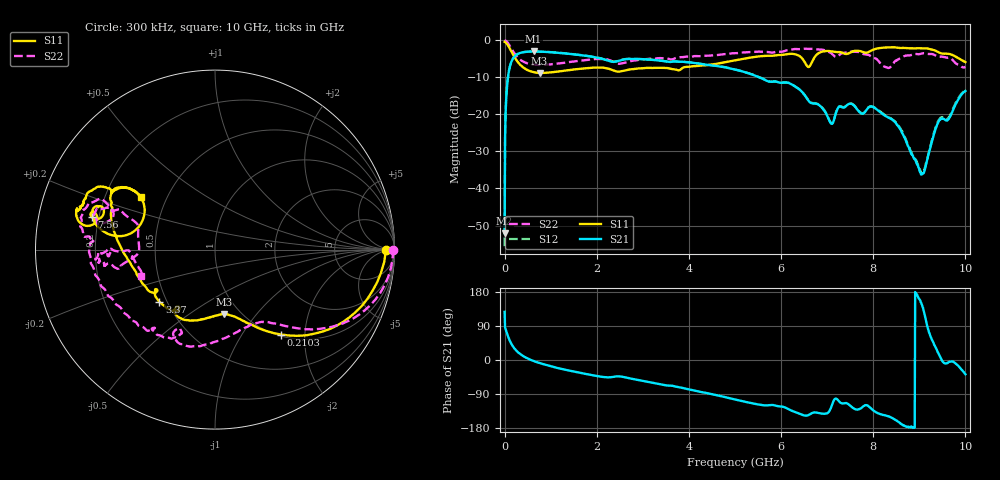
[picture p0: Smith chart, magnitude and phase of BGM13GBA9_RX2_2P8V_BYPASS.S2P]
!Agilent Technologies,E5071C,MY46316587,B.13.01
!Date: Wed Dec 06 10:53:28 2017
!Data & Calibration Information:
!Freq	S11:SOLT2(ON)	S21:SOLT2(ON)	S12:SOLT2(ON)	S22:SOLT2(ON)
!PortZ  Port1:50+j0  Port2:50+j0
!Above PortZ is port z conversion or system Z0 setting when saving the data.
!When reading, reference impedance value at option line is always used.
# Hz S RI R 50
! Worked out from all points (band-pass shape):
!   1001 points, 300 kHz to 10 GHz, reference 50 ohm
!   highest |S21| = -3.04 dB at 630.3 MHz (marker M1); lowest = -52.1 dB at 300 kHz (marker M2)
!   |S21| within 3 dB of the highest: 140.3 MHz to 4.055 GHz (3.914 GHz wide, 187 % of centre)
!   lowest |S11| = -8.8 dB at 760.3 MHz (marker M3), VSWR 2.13, Z = 42.1 - j34.7 ohm
!   |S11| at or under -10 dB: nowhere
!   |S22| runs from -7.5 to -0.1 dB; largest |S21 - S12| = 0.0068
!   S11 on the Smith chart (normalised r, x): 300 kHz: 41, -3; 210.3 MHz: 1.02, -1.51; 3.37 GHz: 0.45, -0.32; 7.56 GHz: 0.17, +0.13; 10 GHz: 0.36, +0.28
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300000  0.9527 -0.00354  -0.0015 0.00198  -6.75e-05 0.00166  0.9933 -0.000544
6.02982e7  0.817 -0.3151  0.1046 0.2474  0.1043 0.2484  0.8956 -0.276
7.02979e7  0.7822 -0.3493  0.1357 0.2747  0.135 0.2748  0.8663 -0.3088
2.102937e8  0.365 -0.4733  0.5138 0.3075  0.5136 0.3075  0.5028 -0.4438
6.302811e8  0.0767 -0.3636  0.7041 -0.0329  0.7057 -0.0327  0.23 -0.409
7.602772e8  0.0487 -0.3581  0.694 -0.0997  0.6955 -0.0993  0.191 -0.424
1.67025e9  -0.1218 -0.395  0.5171 -0.3573  0.5172 -0.3597  -0.0497 -0.5289
3.3402e9  -0.3052 -0.2944  0.2394 -0.4779  0.2398 -0.479  -0.3178 -0.4761
3.370199e9  -0.3105 -0.2899  0.2326 -0.4777  0.2333 -0.4788  -0.322 -0.4754
5.00015e9  -0.5345 0.0335  -0.0978 -0.3914  -0.0989 -0.3928  -0.6398 -0.1821
6.380109e9  -0.5164 0.3453  -0.1715 -0.14  -0.1726 -0.1401  -0.7437 0.1448
6.560103e9  -0.3917 0.2257  -0.1374 -0.0903  -0.1387 -0.0908  -0.7424 0.188
6.6701e9  -0.5031 0.0784  -0.108 -0.0907  -0.1095 -0.0916  -0.7339 0.2225
7.090087e9  -0.6656 0.2409  -0.0418 -0.0623  -0.0423 -0.0632  -0.6118 0.2659
7.260082e9  -0.6522 0.2378  -0.0419 -0.1193  -0.0424 -0.1209  -0.6139 0.1494
7.560073e9  -0.6856 0.1804  -0.0802 -0.1089  -0.0814 -0.1099  -0.6736 0.1956
8.040059e9  -0.747 0.1464  -0.0874 -0.0835  -0.0883 -0.0842  -0.5282 0.2228
8.34005e9  -0.7729 0.2078  -0.0765 -0.0464  -0.0783 -0.0465  -0.4236 -0.00452
9.060028e9  -0.7225 0.2852  -0.013 0.00911  -0.0127 0.00881  -0.6639 -0.0469
9.410018e9  -0.5986 0.3433  0.0734 0.0247  0.0769 0.0242  -0.5992 -0.000958
9.640011e9  -0.5621 0.3364  0.0865 -0.00838  0.0899 -0.0104  -0.5799 0.00477
1e10  -0.4132 0.294  0.1638 -0.1267  0.1686 -0.1302  -0.4127 -0.1471
